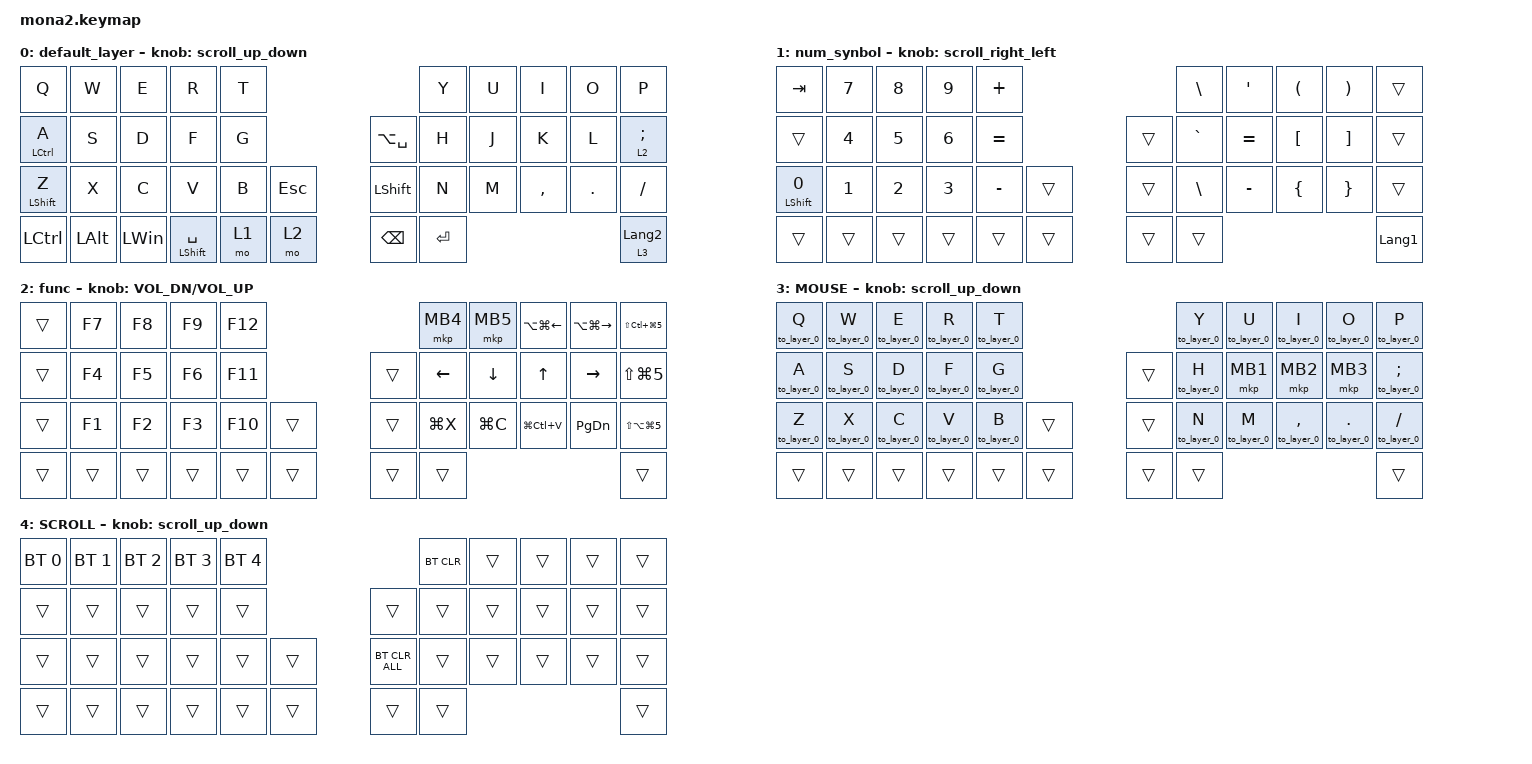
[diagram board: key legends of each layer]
#include <input/processors.dtsi>
#include <dt-bindings/zmk/input_transform.h>
#include <zephyr/dt-bindings/input/input-event-codes.h>
#include <behaviors.dtsi>
#include <dt-bindings/zmk/bt.h>
#include <dt-bindings/zmk/keys.h>
#include <dt-bindings/zmk/pointing.h>

#define ZMK_POINTING_DEFAULT_SCRL_VAL 100
#define MOUSE 5
#define SCROLL 6

&mt {
    flavor = "balanced";
    quick-tap-ms = <0>;
};

&lt {
    quick-tap-ms = <300>;
    flavor = "balanced";
};

/ {
    combos {
        compatible = "zmk,combos";

        tab {
            bindings = <&kp TAB>;
            key-positions = <12 11>;
        };

        toLayerBt {
            bindings = <&mo 4>;
            key-positions = <41 33>;
        };
    };

    macros {
        to_layer_0: to_layer_0 {
            compatible = "zmk,behavior-macro-one-param";
            #binding-cells = <1>;
            bindings = <&to 0 &macro_param_1to1 &kp MACRO_PLACEHOLDER>;
            label = "TO_LAYER_0";
        };
    };

    behaviors {
        lt_to_layer_0: lt_to_layer_0 {
            compatible = "zmk,behavior-hold-tap";
            label = "LAYER_TAP_TO_0";
            bindings = <&mo>, <&to_layer_0>;

            #binding-cells = <2>;
            tapping-term-ms = <200>;
        };

        scroll_up_down: mouse_wheel_up_down {
            compatible = "zmk,behavior-sensor-rotate";
            #sensor-binding-cells = <0>;
            bindings = <&msc SCRL_DOWN>, <&msc SCRL_UP>;

            tap-ms = <20>;
        };

        scroll_right_left: mouse_wheel_right_left {
            compatible = "zmk,behavior-sensor-rotate";
            #sensor-binding-cells = <0>;
            bindings = <&msc SCRL_LEFT>, <&msc SCRL_RIGHT>;

            tap-ms = <20>;
        };
    };

    keymap {
        compatible = "zmk,keymap";

        default_layer {
            bindings = <
&kp Q               &kp W     &kp E         &kp R                 &kp T                                &kp Y      &kp U  &kp I      &kp O    &kp P
&mt LEFT_CONTROL A  &kp S     &kp D         &kp F                 &kp G                &kp LA(SPACE)   &kp H      &kp J  &kp K      &kp L    &lt 2 SEMICOLON
&mt LEFT_SHIFT Z    &kp X     &kp C         &kp V                 &kp B  &kp ESCAPE    &kp LEFT_SHIFT  &kp N      &kp M  &kp COMMA  &kp DOT  &kp SLASH
&kp LCTRL           &kp LALT  &kp LEFT_WIN  &mt LEFT_SHIFT SPACE  &mo 1  &mo 2         &kp BACKSPACE   &kp ENTER                             &lt 3 LANGUAGE_2
            >;

            sensor-bindings = <&scroll_up_down>;
        };

        num_synbol {
            bindings = <
&kp TAB                  &kp NUMBER_7  &kp NUMBER_8  &kp NUMBER_9  &kp PLUS                     &kp BACKSLASH  &kp SINGLE_QUOTE  &kp LEFT_PARENTHESIS  &kp RIGHT_PARENTHESIS  &trans
&trans                   &kp NUMBER_4  &kp NUMBER_5  &kp NUMBER_6  &kp EQUAL            &trans  &kp GRAVE      &kp EQUAL         &kp LEFT_BRACKET      &kp RIGHT_BRACKET      &trans
&mt LEFT_SHIFT NUMBER_0  &kp NUMBER_1  &kp NUMBER_2  &kp NUMBER_3  &kp MINUS  &trans    &trans  &kp BACKSLASH  &kp MINUS         &kp LEFT_BRACE        &kp RIGHT_BRACE        &trans
&trans                   &trans        &trans        &trans        &trans     &trans    &trans  &trans                                                                        &kp LANGUAGE_1
            >;

            sensor-bindings = <&scroll_right_left>;
        };

        func {
            bindings = <
&trans  &kp F7  &kp F8  &kp F9  &kp F12                    &mkp MB4        &mkp MB5        &kp LA(LG(LEFT_ARROW))  &kp LA(LG(RIGHT))  &kp LS(LC(LG(N5)))
&trans  &kp F4  &kp F5  &kp F6  &kp F11            &trans  &kp LEFT_ARROW  &kp DOWN_ARROW  &kp UP_ARROW            &kp RIGHT_ARROW    &kp LS(LG(N5))
&trans  &kp F1  &kp F2  &kp F3  &kp F10  &trans    &trans  &kp LG(X)       &kp LG(C)       &kp LG(LC(V))           &kp PAGE_DOWN      &kp LS(LA(LG(NUMBER_5)))
&trans  &trans  &trans  &trans  &trans   &trans    &trans  &trans                                                                     &trans
            >;

            sensor-bindings = <&inc_dec_kp C_VOL_DN C_VOL_UP>;
        };

        MOUSE {
            bindings = <
&to_layer_0 Q  &to_layer_0 W  &to_layer_0 E  &to_layer_0 R  &to_layer_0 T                    &to_layer_0 Y  &to_layer_0 U  &to_layer_0 I      &to_layer_0 O       &to_layer_0 P
&to_layer_0 A  &to_layer_0 S  &to_layer_0 D  &to_layer_0 F  &to_layer_0 G            &trans  &to_layer_0 H  &mkp MB1       &mkp MB2           &mkp MB3            &to_layer_0 SEMICOLON
&to_layer_0 Z  &to_layer_0 X  &to_layer_0 C  &to_layer_0 V  &to_layer_0 B  &trans    &trans  &to_layer_0 N  &to_layer_0 M  &to_layer_0 COMMA  &to_layer_0 PERIOD  &to_layer_0 SLASH
&trans         &trans         &trans         &trans         &trans         &trans    &trans  &trans                                                               &trans
            >;

            sensor-bindings = <&scroll_up_down>;
        };

        SCROLL {
            bindings = <
&bt BT_SEL 0  &bt BT_SEL 1  &bt BT_SEL 2  &bt BT_SEL 3  &bt BT_SEL 4                            &bt BT_CLR  &trans  &trans  &trans  &trans
&trans        &trans        &trans        &trans        &trans                  &trans          &trans      &trans  &trans  &trans  &trans
&trans        &trans        &trans        &trans        &trans        &trans    &bt BT_CLR_ALL  &trans      &trans  &trans  &trans  &trans
&trans        &trans        &trans        &trans        &trans        &trans    &trans          &trans                              &trans
            >;

            sensor-bindings = <&scroll_up_down>;
        };
    };
};
